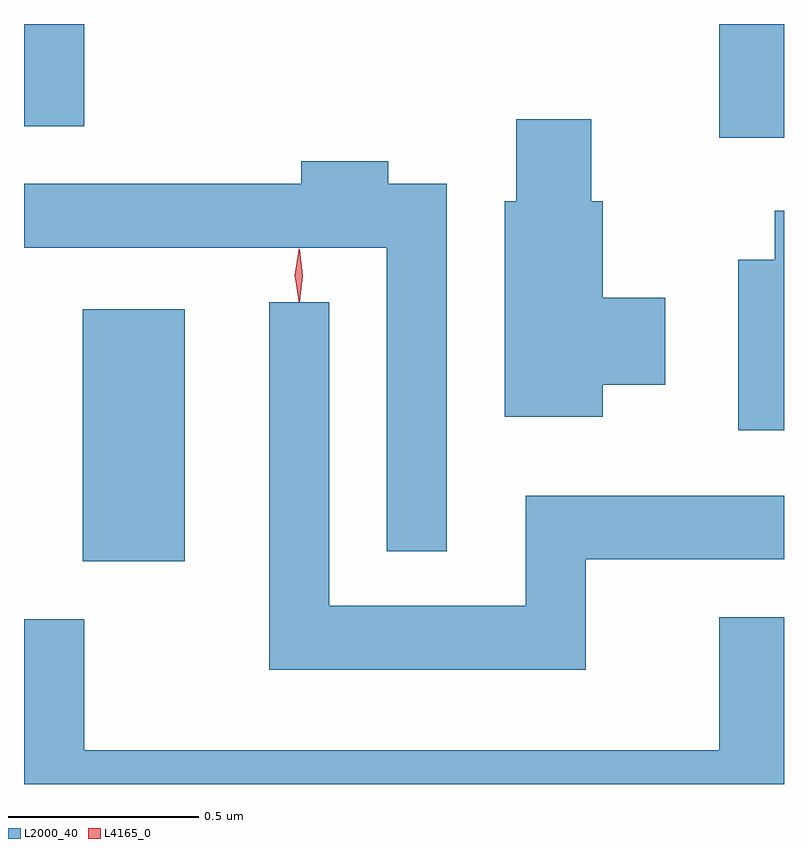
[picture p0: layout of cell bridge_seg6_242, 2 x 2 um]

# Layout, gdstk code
import gdstk
lib = gdstk.Library(unit=1e-6, precision=1e-09)
def R(c, l, rs):  # rectangles x0, y0, x1, y1
    for r in rs: c.add(gdstk.rectangle(r[:2], r[2:], *l))
def P(c, l, *ps):  # polygons
    for p in ps: c.add(gdstk.Polygon(p, *l))
L2000_40 = (2000, 40)
L4165_0 = (4165, 0)

bridge_seg6_242 = lib.new_cell('bridge_seg6_242')
R(bridge_seg6_242, L2000_40, [(1143.596,1564.121,1143.864,1564.784), (1145.271,1565.236,1145.441,1565.535), (1143.441,1565.266,1143.599,1565.535)])
P(bridge_seg6_242, L2000_40, [(1144.964,1564.586),(1145.129,1564.586),(1145.129,1564.814),(1144.964,1564.814),(1144.964,1565.069),(1144.934,1565.069),(1144.934,1565.284),(1144.736,1565.284),(1144.736,1565.069),(1144.706,1565.069),(1144.706,1564.501),(1144.964,1564.501)],
  [(1144.554,1565.114),(1144.399,1565.114),(1144.399,1565.174),(1144.171,1565.174),(1144.171,1565.114),(1143.441,1565.114),(1143.441,1564.946),(1144.396,1564.946),(1144.396,1564.148),(1144.554,1564.148)],
  [(1145.441,1565.044),(1145.416,1565.044),(1145.416,1564.914),(1145.321,1564.914),(1145.321,1564.466),(1145.441,1564.466)],
  [(1144.919,1564.126),(1145.441,1564.126),(1145.441,1564.294),(1144.761,1564.294),(1144.761,1564.004),(1144.244,1564.004),(1144.244,1564.803),(1144.086,1564.803),(1144.086,1563.836),(1144.919,1563.836)],
  [(1145.441,1563.974),(1145.271,1563.974),(1145.271,1563.624),(1143.599,1563.624),(1143.599,1563.969),(1143.441,1563.969),(1143.441,1563.535),(1145.441,1563.535)])
P(bridge_seg6_242, L4165_0, [(1144.165,1564.803),(1144.164,1564.804),(1144.155,1564.873),(1144.164,1564.942),(1144.165,1564.943),(1144.166,1564.942),(1144.175,1564.873),(1144.166,1564.804)],
  [(1144.164,1564.807),(1144.164,1564.808),(1144.154,1564.874),(1144.164,1564.94),(1144.164,1564.94),(1144.165,1564.94),(1144.174,1564.874),(1144.165,1564.808)])

lib.write_gds('bridge_seg6_242.gds')
